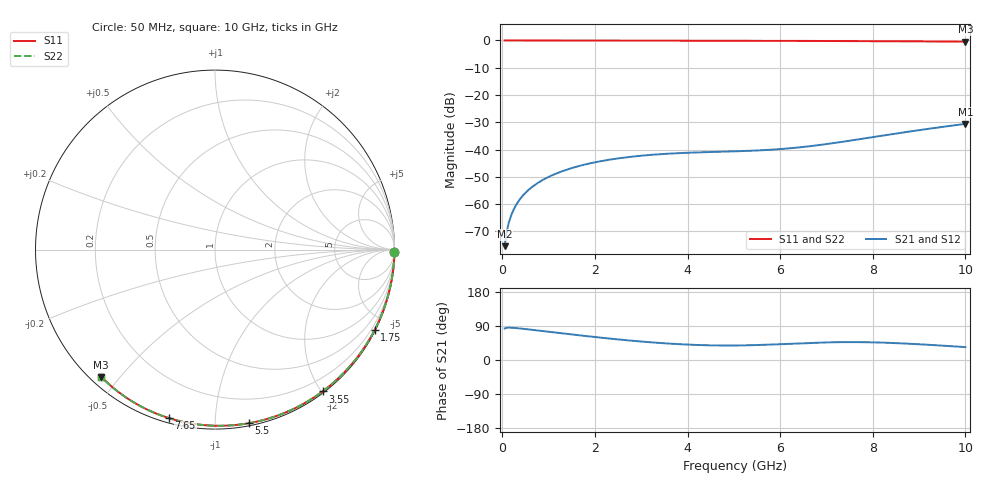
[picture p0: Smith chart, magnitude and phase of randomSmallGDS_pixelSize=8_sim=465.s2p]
! freq	dB(S11)	phase(S11)	dB(S12)	phase(S12)
!  dB(S21)	phase(S21)	dB(S22)	phase(S22)
!S-par simulation data
#  GHz  S  DB  R 50
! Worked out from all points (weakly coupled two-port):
!   200 points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, 50 MHz to 10 GHz, reference 50 ohm
!   highest |S21| = -30.58 dB at 10 GHz (marker M1); lowest = -75.4 dB at 50 MHz (marker M2)
!   lowest |S11| = -0.4 dB at 10 GHz (marker M3), VSWR 39.77, Z = 1.51 - j22.3 ohm
!   |S11| at or under -10 dB: nowhere
!   |S22| runs from -0.4 to 0.0 dB; largest |S21 - S12| = 0
!   S11 on the Smith chart (normalised r, x): 50 MHz: open; 1.75 GHz: 0.04, -4.22; 3.55 GHz: 0.02, -2.01; 5.5 GHz: 0.02, -1.21; 7.65 GHz: 0.02, -0.76; 10 GHz: 0.03, -0.45
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0.05  -0.00 -0.8  -75.42 83.2  -75.42 83.2  -0.00 -0.8
0.1  -0.00 -1.6  -69.69 85.0  -69.69 85.0  -0.00 -1.6
0.15  -0.00 -2.3  -66.23 85.4  -66.23 85.4  -0.00 -2.3
0.2  -0.00 -3.1  -63.76 85.2  -63.76 85.2  -0.00 -3.1
0.25  -0.00 -3.9  -61.83 84.8  -61.83 84.8  -0.00 -3.9
0.35  -0.00 -5.4  -58.93 83.6  -58.93 83.6  -0.00 -5.4
0.5  -0.01 -7.7  -55.87 81.7  -55.87 81.7  -0.01 -7.7
0.7  -0.01 -10.8  -53.00 78.9  -53.00 78.9  -0.01 -10.8
1  -0.02 -15.4  -50.02 74.5  -50.02 74.5  -0.02 -15.4
1.35  -0.03 -20.7  -47.60 69.5  -47.60 69.5  -0.03 -20.7
1.75  -0.03 -26.7  -45.63 63.9  -45.63 63.9  -0.03 -26.7
2.5  -0.05 -37.8  -43.24 54.3  -43.24 54.3  -0.05 -37.8
3.4  -0.07 -50.7  -41.71 44.9  -41.71 44.9  -0.07 -50.7
3.55  -0.07 -52.8  -41.55 43.7  -41.55 43.7  -0.07 -52.8
4.3  -0.09 -63.2  -41.00 39.3  -41.00 39.3  -0.09 -63.2
5.05  -0.11 -73.2  -40.63 38.3  -40.63 38.3  -0.11 -73.2
5.5  -0.13 -79.0  -40.34 39.4  -40.34 39.4  -0.13 -79.0
6.15  -0.15 -87.2  -39.62 42.5  -39.62 42.5  -0.15 -87.2
6.7  -0.18 -94.0  -38.65 45.3  -38.65 45.3  -0.18 -94.0
7.65  -0.23 -105.3  -36.37 47.2  -36.37 47.2  -0.23 -105.3
8.35  -0.28 -113.4  -34.53 45.3  -34.53 45.3  -0.28 -113.4
10  -0.44 -131.8  -30.58 34.0  -30.58 34.0  -0.44 -131.8
